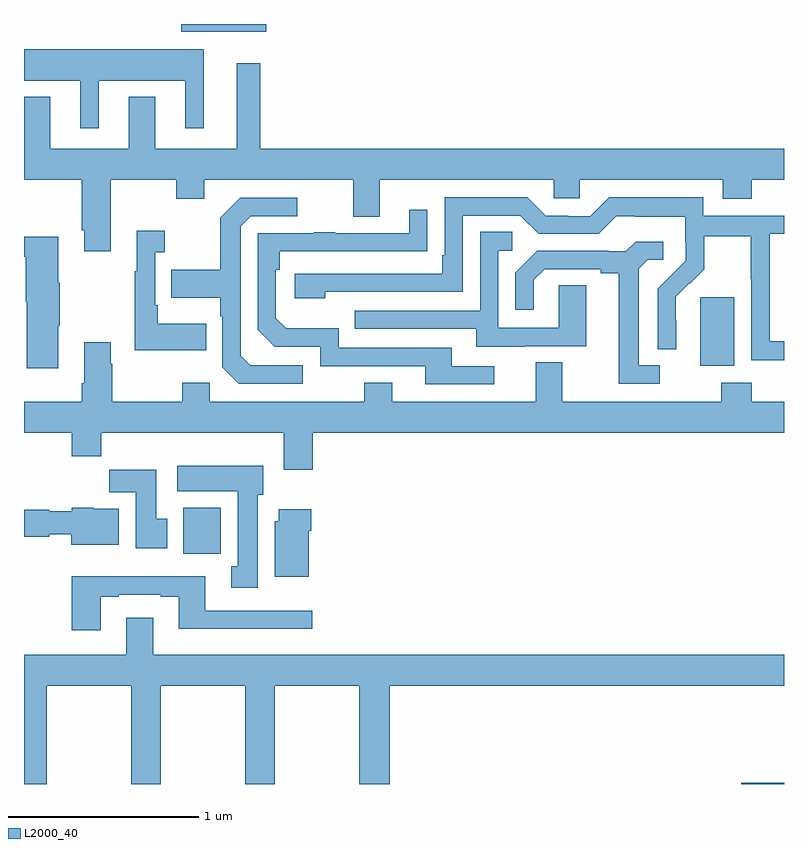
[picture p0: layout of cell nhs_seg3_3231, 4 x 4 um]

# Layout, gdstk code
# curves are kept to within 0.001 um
import gdstk
lib = gdstk.Library(unit=1e-6, precision=1e-09)
def R(c, l, rs):  # rectangles x0, y0, x1, y1
    for r in rs: c.add(gdstk.rectangle(r[:2], r[2:], *l))
def P(c, l, *ps):  # polygons
    for p in ps: c.add(gdstk.Polygon(p, *l))
L2000_40 = (2000, 40)

nhs_seg3_3231 = lib.new_cell('nhs_seg3_3231')
R(nhs_seg3_3231, L2000_40, [(282.774,700.4,283,700.406), (279.839,701.612,280.036,701.854), (282.56,702.602,282.739,702.963), (279.828,704.36,280.276,704.4)])
P(nhs_seg3_3231, L2000_40, [(279.394,704.102),(279.848,704.102),(279.848,703.851),(279.946,703.851),(279.946,704.266),(279,704.266),(279,704.102),(279.296,704.102),(279.296,703.851),(279.394,703.851)],
  [(279.457,703.58),(279.802,703.58),(279.802,703.481),(279.949,703.481),(279.949,703.58),(280.733,703.58),(280.733,703.386),(280.873,703.386),(280.873,703.58),(281.787,703.58),(281.787,703.482),(281.925,703.482),(281.925,703.58),(282.677,703.58),(282.677,703.481),(282.83,703.481),(282.83,703.58),(283,703.58),(283,703.744),(280.243,703.744),(280.243,704.194),(280.121,704.194),(280.121,703.744),(279.691,703.744),(279.691,704.017),(279.551,704.017),(279.551,703.744),(279.139,703.744),(279.139,704.017),(279,704.017),(279,703.58),(279.305,703.58),(279.305,703.315),(279.317,703.315),(279.317,703.203),(279.457,703.203)],
  [(283,702.729),(282.924,702.729),(282.924,703.296),(283,703.296),(283,703.392),(282.576,703.392),(282.576,703.489),(282.079,703.489),(281.979,703.389),(281.864,703.389),(281.864,703.392),(281.745,703.392),(281.649,703.488),(281.214,703.488),(281.214,703.183),(281.201,703.183),(281.201,703.086),(280.425,703.086),(280.425,702.956),(280.586,702.956),(280.586,702.99),(281.31,702.99),(281.31,703.392),(281.613,703.392),(281.709,703.296),(282.024,703.296),(282.117,703.389),(282.217,703.389),(282.217,703.385),(282.48,703.385),(282.48,703.251),(282.482,703.251),(282.482,703.154),(282.336,703.006),(282.336,702.688),(282.432,702.688),(282.431,702.965),(282.501,703.035),(282.504,703.032),(282.581,703.109),(282.581,703.284),(282.826,703.284),(282.826,703.06),(282.828,703.06),(282.828,702.631),(283,702.631)],
  [(280.468,702.603),(280.191,702.603),(280.14,702.654),(280.14,703.335),(280.194,703.389),(280.438,703.389),(280.438,703.485),(280.137,703.485),(280.032,703.379),(280.032,703.107),(279.775,703.107),(279.775,702.959),(280.032,702.959),(280.032,702.863),(280.044,702.863),(280.044,702.594),(280.131,702.507),(280.468,702.507)],
  [(281.476,702.6),(281.251,702.6),(281.251,702.696),(280.656,702.696),(280.656,702.799),(280.379,702.799),(280.326,702.852),(280.326,703.106),(280.346,703.106),(280.346,703.203),(281.123,703.204),(281.123,703.423),(281.027,703.423),(281.027,703.299),(280.637,703.299),(280.637,703.304),(280.525,703.304),(280.525,703.299),(280.23,703.299),(280.23,702.792),(280.32,702.702),(280.56,702.702),(280.56,702.6),(281.111,702.6),(281.111,702.504),(281.476,702.504)],
  [(279.959,702.823),(279.703,702.823),(279.703,702.919),(279.69,702.919),(279.69,703.199),(279.742,703.199),(279.742,703.312),(279.593,703.312),(279.593,703.099),(279.582,703.099),(279.582,702.683),(279.959,702.683)],
  [(281.635,702.705),(281.959,702.705),(281.959,703.025),(281.814,703.025),(281.814,702.801),(281.496,702.801),(281.496,703.206),(281.569,703.206),(281.569,703.307),(281.4,703.307),(281.4,702.891),(280.741,702.891),(280.741,702.795),(281.381,702.795),(281.381,702.701),(281.635,702.701)],
  [(279.181,702.811),(279.189,702.811),(279.189,703.039),(279.181,703.039),(279.181,703.279),(279,703.279),(279,703.175),(279.008,703.175),(279.008,702.939),(279.014,702.939),(279.014,702.588),(279.181,702.588)],
  [(282.346,702.603),(282.235,702.603),(282.235,703.111),(282.282,703.158),(282.364,703.158),(282.364,703.255),(282.22,703.255),(282.168,703.203),(282.074,703.203),(282.074,703.206),(281.702,703.206),(281.586,703.09),(281.586,702.897),(281.683,702.897),(281.683,703.053),(281.74,703.11),(282.035,703.11),(282.035,703.088),(282.131,703.088),(282.131,702.507),(282.346,702.507)],
  [(280.52,702.248),(283,702.248),(283,702.412),(282.83,702.412),(282.83,702.511),(282.67,702.511),(282.67,702.412),(281.833,702.412),(281.833,702.62),(281.693,702.62),(281.693,702.412),(280.939,702.412),(280.939,702.511),(280.792,702.511),(280.792,702.412),(279.978,702.412),(279.978,702.511),(279.832,702.511),(279.832,702.412),(279.465,702.412),(279.465,702.611),(279.457,702.611),(279.457,702.724),(279.317,702.724),(279.317,702.508),(279.305,702.508),(279.305,702.412),(279,702.412),(279,702.248),(279.251,702.248),(279.251,702.124),(279.407,702.124),(279.407,702.248),(280.367,702.248),(280.367,702.054),(280.52,702.054)],
  [(280.231,701.922),(280.258,701.922),(280.258,702.076),(279.807,702.076),(279.807,701.942),(280.124,701.942),(280.124,701.546),(280.091,701.546),(280.091,701.433),(280.231,701.433)],
  [(279.754,701.796),(279.697,701.796),(279.697,702.055),(279.448,702.055),(279.448,701.936),(279.587,701.936),(279.587,701.64),(279.754,701.64)],
  [(279.499,701.848),(279.366,701.848),(279.366,701.854),(279.252,701.854),(279.252,701.836),(279.132,701.836),(279.132,701.844),(279,701.844),(279,701.702),(279.132,701.702),(279.132,701.714),(279.248,701.714),(279.248,701.66),(279.499,701.66)],
  [(280.498,701.732),(280.511,701.732),(280.511,701.845),(280.34,701.845),(280.34,701.784),(280.319,701.784),(280.319,701.492),(280.498,701.492)],
  [(279.403,701.385),(279.499,701.385),(279.499,701.397),(279.719,701.397),(279.719,701.385),(279.815,701.385),(279.815,701.216),(280.516,701.216),(280.516,701.313),(279.955,701.313),(279.955,701.494),(279.251,701.494),(279.251,701.208),(279.403,701.208)],
  [(279.12,700.916),(279.565,700.916),(279.565,700.4),(279.72,700.4),(279.72,700.916),(280.165,700.916),(280.165,700.4),(280.32,700.4),(280.32,700.916),(280.765,700.916),(280.765,700.4),(280.925,700.4),(280.925,700.916),(283,700.916),(283,701.08),(279.679,701.08),(279.679,701.275),(279.539,701.275),(279.539,701.08),(279,701.08),(279,700.4),(279.12,700.4)])

lib.write_gds('nhs_seg3_3231.gds')
